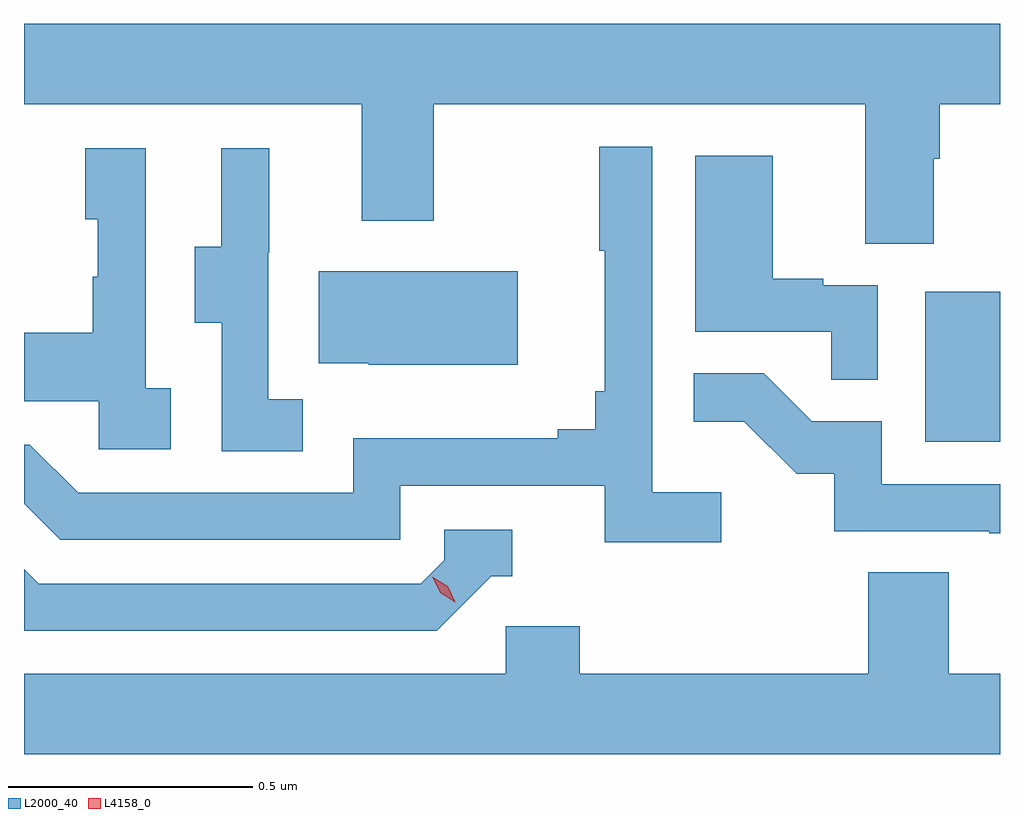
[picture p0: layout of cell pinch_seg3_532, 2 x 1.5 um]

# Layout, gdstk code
import gdstk
lib = gdstk.Library(unit=1e-6, precision=1e-09)
def R(c, l, rs):  # rectangles x0, y0, x1, y1
    for r in rs: c.add(gdstk.rectangle(r[:2], r[2:], *l))
def P(c, l, *ps):  # polygons
    for p in ps: c.add(gdstk.Polygon(p, *l))
L2000_40 = (2000, 40)
L4158_0 = (4158, 0)

pinch_seg3_532 = lib.new_cell('pinch_seg3_532')
R(pinch_seg3_532, L2000_40, [(995.42,680.244,995.573,680.551)])
P(pinch_seg3_532, L2000_40, [(995.437,680.824),(995.45,680.824),(995.45,680.936),(995.573,680.936),(995.573,681.1),(993.573,681.1),(993.573,680.936),(994.265,680.936),(994.265,680.697),(994.413,680.697),(994.413,680.936),(995.297,680.936),(995.297,680.65),(995.437,680.65)],
  [(995.002,680.14),(994.86,680.14),(994.86,680.848),(994.752,680.848),(994.752,680.635),(994.763,680.635),(994.763,680.347),(994.744,680.347),(994.744,680.27),(994.667,680.27),(994.667,680.251),(994.248,680.251),(994.248,680.139),(993.684,680.139),(993.585,680.238),(993.573,680.238),(993.573,680.117),(993.647,680.043),(994.344,680.043),(994.344,680.154),(994.763,680.154),(994.763,680.038),(995.002,680.038)],
  [(993.874,680.354),(993.822,680.354),(993.822,680.845),(993.698,680.845),(993.698,680.7),(993.724,680.7),(993.724,680.582),(993.714,680.582),(993.714,680.467),(993.573,680.467),(993.573,680.327),(993.726,680.327),(993.726,680.229),(993.874,680.229)],
  [(994.144,680.331),(994.074,680.331),(994.074,680.631),(994.076,680.631),(994.076,680.845),(993.977,680.845),(993.977,680.643),(993.923,680.643),(993.923,680.488),(993.978,680.488),(993.978,680.224),(994.144,680.224)],
  [(995.322,680.565),(995.211,680.565),(995.211,680.578),(995.107,680.578),(995.107,680.83),(994.949,680.83),(994.949,680.469),(995.227,680.469),(995.227,680.371),(995.322,680.371)],
  [(994.585,680.593),(994.177,680.593),(994.177,680.405),(994.279,680.405),(994.279,680.402),(994.585,680.402)],
  [(995.573,680.157),(995.331,680.157),(995.331,680.286),(995.187,680.286),(995.089,680.384),(994.945,680.384),(994.945,680.285),(995.049,680.285),(995.156,680.178),(995.233,680.178),(995.233,680.061),(995.551,680.061),(995.551,680.056),(995.573,680.056)],
  [(994.53,679.968),(994.573,679.968),(994.573,680.064),(994.434,680.064),(994.434,680.001),(994.386,679.953),(993.603,679.953),(993.573,679.983),(993.573,679.857),(994.419,679.857)],
  [(995.573,679.768),(995.468,679.768),(995.468,679.976),(995.303,679.976),(995.303,679.768),(994.712,679.768),(994.712,679.866),(994.56,679.866),(994.56,679.768),(993.573,679.768),(993.573,679.604),(995.573,679.604)])
P(pinch_seg3_532, L4158_0, [(994.457,679.915),(994.426,679.934),(994.41,679.967),(994.41,679.967),(994.41,679.967),(994.441,679.948),(994.457,679.915),(994.457,679.915)])

lib.write_gds('pinch_seg3_532.gds')
